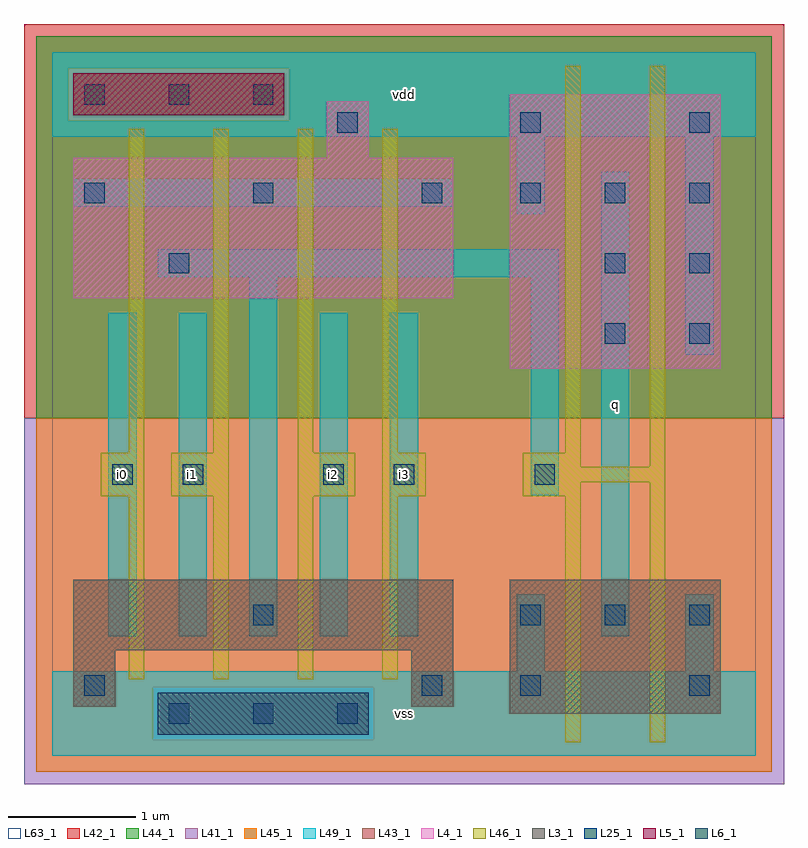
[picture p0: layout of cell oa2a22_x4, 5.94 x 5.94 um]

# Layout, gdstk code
import gdstk
lib = gdstk.Library(unit=1e-6, precision=1e-09)
def R(c, l, rs):  # rectangles x0, y0, x1, y1
    for r in rs: c.add(gdstk.rectangle(r[:2], r[2:], *l))
def A(c, l, x, y, w, h, nx, ny, dx, dy):  # array of equal rectangles
    R(c, l, [(x+i*dx, y+j*dy, x+i*dx+w, y+j*dy+h) for i in range(nx) for j in range(ny)])
L3_1 = (3, 1)
L4_1 = (4, 1)
L5_1 = (5, 1)
L6_1 = (6, 1)
L25_1 = (25, 1)
L41_1 = (41, 1)
L42_1 = (42, 1)
L43_1 = (43, 1)
L44_1 = (44, 1)
L45_1 = (45, 1)
L46_1 = (46, 1)
L49_1 = (49, 1)
L63_1 = (63, 1)

oa2a22_x4 = lib.new_cell('oa2a22_x4')
R(oa2a22_x4, L3_1, [(3.575,0.33,5.225,1.375), (0.165,0.385,0.495,0.825), (2.805,0.385,3.135,0.825), (0.165,0.825,3.135,1.375)])
R(oa2a22_x4, L4_1, [(3.575,3.025,5.225,5.17), (0.165,3.575,3.135,4.675), (2.145,4.675,2.475,5.115)])
R(oa2a22_x4, L5_1, [(0.165,5.005,1.815,5.335)])
R(oa2a22_x4, L6_1, [(0.825,0.165,2.475,0.495)])
A(oa2a22_x4, L25_1, 0.91, 0.25, 0.16, 0.16, 3, 1, 0.66, 0)
A(oa2a22_x4, L25_1, 3.66, 1.02, 0.16, 0.16, 3, 2, 0.66, 3.3)
A(oa2a22_x4, L25_1, 0.25, 4.32, 0.16, 0.16, 3, 1, 1.32, 0)
A(oa2a22_x4, L25_1, 0.25, 5.09, 0.16, 0.16, 3, 1, 0.66, 0)
R(oa2a22_x4, L25_1, [(0.25,0.47,0.41,0.63), (2.89,0.47,3.05,0.63), (3.66,0.47,3.82,0.63), (4.98,0.47,5.14,0.63), (1.57,1.02,1.73,1.18), (0.47,2.12,0.63,2.28), (1.02,2.12,1.18,2.28), (2.12,2.12,2.28,2.28), (2.67,2.12,2.83,2.28), (3.77,2.12,3.93,2.28), (4.32,3.22,4.48,3.38), (4.98,3.22,5.14,3.38), (0.91,3.77,1.07,3.93), (4.32,3.77,4.48,3.93), (4.98,3.77,5.14,3.93), (2.23,4.87,2.39,5.03), (3.66,4.87,3.82,5.03), (4.98,4.87,5.14,5.03)])
R(oa2a22_x4, L41_1, [(-0.22,-0.22,5.72,2.64)])
R(oa2a22_x4, L42_1, [(-0.22,2.64,5.72,5.72)])
R(oa2a22_x4, L43_1, [(0.825,0.165,2.475,0.495), (3.575,0.33,5.225,1.375), (0.165,0.385,0.495,0.825), (2.805,0.385,3.135,0.825), (0.165,0.825,3.135,1.375), (3.575,3.025,5.225,5.17), (0.165,3.575,3.135,4.675), (2.145,4.675,2.475,5.115), (0.165,5.005,1.815,5.335)])
R(oa2a22_x4, L44_1, [(0.785,0.125,2.515,0.535), (-0.125,2.64,5.625,4.965), (-0.125,4.965,0.125,5.375), (1.855,4.965,5.625,5.375), (-0.125,5.375,5.625,5.625)])
R(oa2a22_x4, L45_1, [(-0.125,-0.125,5.625,0.125), (-0.125,0.125,0.785,0.535), (2.515,0.125,5.625,0.535), (-0.125,0.535,5.625,2.64), (0.125,4.965,1.855,5.375)])
A(oa2a22_x4, L46_1, 0.6, 0.6, 0.12, 1.43, 4, 1, 0.66, 0)
A(oa2a22_x4, L46_1, 0.6, 2.37, 0.12, 2.53, 4, 1, 0.66, 0)
R(oa2a22_x4, L46_1, [(4.01,0.105,4.13,2.03), (4.67,0.105,4.79,2.14), (0.38,2.03,0.72,2.37), (0.93,2.03,1.38,2.37), (1.92,2.03,2.37,2.37), (2.58,2.03,2.92,2.37), (3.68,2.03,4.13,2.14), (3.68,2.14,4.79,2.26), (3.68,2.26,4.13,2.37), (4.67,2.26,4.79,5.395), (4.01,2.37,4.13,5.395)])
R(oa2a22_x4, L49_1, [(0,0,5.5,0.66), (3.63,0.66,3.85,1.265), (4.95,0.66,5.17,1.265), (0.44,0.935,0.66,3.465), (0.99,0.935,1.21,3.465), (1.54,0.935,1.76,3.74), (2.09,0.935,2.31,3.465), (2.64,0.935,2.86,3.465), (4.29,0.935,4.51,4.565), (3.74,2.035,3.96,3.74), (4.95,3.135,5.17,4.84), (0.825,3.74,3.96,3.96), (3.63,4.235,3.85,4.84), (0.165,4.29,3.135,4.51), (0,4.84,5.5,5.5)])
R(oa2a22_x4, L63_1, [(0,0,5.5,5.5)])
oa2a22_x4.add(gdstk.Label('i1', (1.1,2.2), layer=49, texttype=1))
oa2a22_x4.add(gdstk.Label('i0', (0.55,2.2), layer=49, texttype=1))
oa2a22_x4.add(gdstk.Label('i2', (2.2,2.2), layer=49, texttype=1))
oa2a22_x4.add(gdstk.Label('vss', (2.75,0.33), layer=49, texttype=1))
oa2a22_x4.add(gdstk.Label('i3', (2.75,2.2), layer=49, texttype=1))
oa2a22_x4.add(gdstk.Label('vdd', (2.75,5.17), layer=49, texttype=1))
oa2a22_x4.add(gdstk.Label('q', (4.4,2.75), layer=49, texttype=1))

lib.write_gds('oa2a22_x4.gds')
